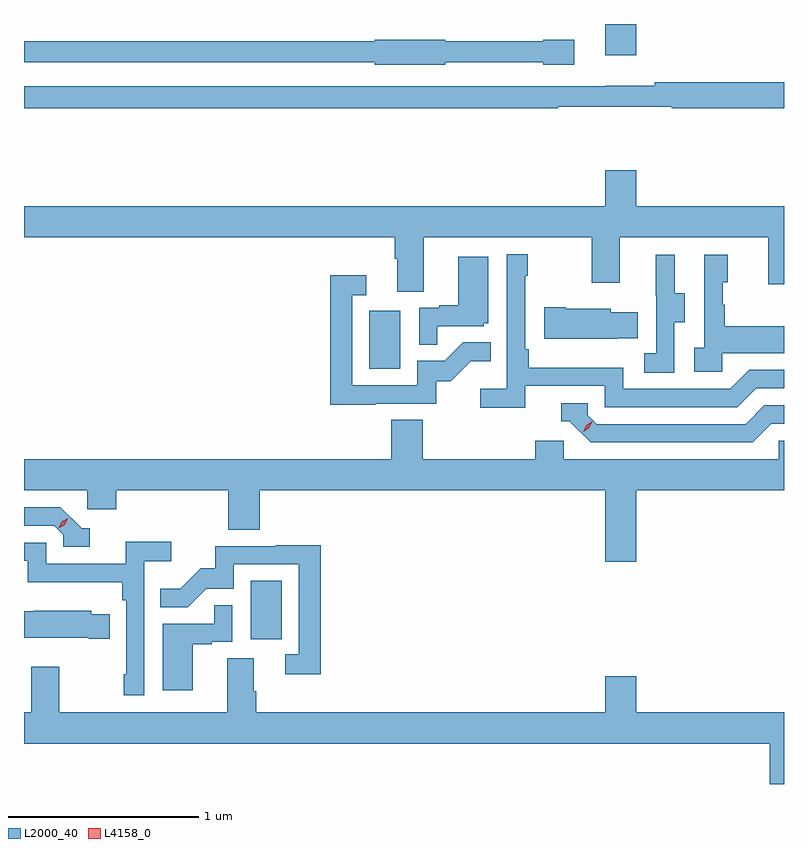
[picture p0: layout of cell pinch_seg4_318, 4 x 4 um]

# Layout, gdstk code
import gdstk
lib = gdstk.Library(unit=1e-6, precision=1e-09)
def R(c, l, rs):  # rectangles x0, y0, x1, y1
    for r in rs: c.add(gdstk.rectangle(r[:2], r[2:], *l))
def P(c, l, *ps):  # polygons
    for p in ps: c.add(gdstk.Polygon(p, *l))
L2000_40 = (2000, 40)
L4158_0 = (4158, 0)

pinch_seg4_318 = lib.new_cell('pinch_seg4_318')
R(pinch_seg4_318, L2000_40, [(918.386,793.374,918.55,793.681), (919.01,794.796,919.174,795.103), (920.252,796.446,920.416,796.611)])
P(pinch_seg4_318, L2000_40, [(919.41,796.41),(919.926,796.41),(919.926,796.397),(920.089,796.397),(920.089,796.527),(919.926,796.527),(919.926,796.519),(919.41,796.519),(919.41,796.527),(919.038,796.527),(919.038,796.519),(917.193,796.519),(917.193,796.41),(919.038,796.41),(919.038,796.397),(919.41,796.397)],
  [(920.002,796.176),(920.602,796.176),(920.602,796.168),(921.193,796.168),(921.193,796.304),(920.512,796.304),(920.512,796.285),(920.256,796.285),(920.256,796.284),(917.193,796.284),(917.193,796.168),(920.002,796.168)],
  [(919.297,795.488),(920.182,795.488),(920.182,795.249),(920.329,795.249),(920.329,795.488),(921.11,795.488),(921.11,795.24),(921.193,795.24),(921.193,795.652),(920.416,795.652),(920.416,795.841),(920.252,795.841),(920.252,795.652),(917.193,795.652),(917.193,795.488),(919.145,795.488),(919.145,795.376),(919.157,795.376),(919.157,795.202),(919.297,795.202)],
  [(919.832,794.706),(920.25,794.706),(920.25,794.595),(920.947,794.595),(921.046,794.694),(921.193,794.694),(921.193,794.79),(921.009,794.79),(920.91,794.691),(920.346,794.691),(920.346,794.803),(919.85,794.803),(919.85,794.899),(919.83,794.899),(919.83,795.287),(919.843,795.287),(919.843,795.4),(919.734,795.4),(919.734,794.692),(919.593,794.692),(919.593,794.59),(919.832,794.59)],
  [(920.868,794.879),(921.193,794.879),(921.193,795.019),(920.881,795.019),(920.881,795.134),(920.871,795.134),(920.871,795.252),(920.896,795.252),(920.896,795.397),(920.772,795.397),(920.772,794.906),(920.721,794.906),(920.721,794.781),(920.868,794.781)],
  [(920.616,795.04),(920.671,795.04),(920.671,795.195),(920.617,795.195),(920.617,795.397),(920.519,795.397),(920.519,795.183),(920.52,795.183),(920.52,794.879),(920.457,794.879),(920.457,794.776),(920.616,794.776)],
  [(919.367,795.021),(919.614,795.021),(919.614,795.036),(919.636,795.036),(919.636,795.385),(919.478,795.385),(919.478,795.13),(919.379,795.13),(919.379,795.117),(919.272,795.117),(919.272,794.923),(919.367,794.923)],
  [(919.043,794.613),(919.362,794.613),(919.362,794.73),(919.438,794.73),(919.545,794.837),(919.649,794.837),(919.649,794.936),(919.505,794.936),(919.407,794.838),(919.263,794.838),(919.263,794.709),(918.921,794.709),(918.921,795.183),(918.994,795.183),(918.994,795.289),(918.805,795.289),(918.805,794.608),(919.043,794.608)],
  [(920.315,794.957),(920.423,794.957),(920.423,795.094),(920.28,795.094),(920.28,795.112),(920.044,795.112),(920.044,795.12),(919.932,795.12),(919.932,794.954),(920.315,794.954)],
  [(921.127,794.508),(921.193,794.508),(921.193,794.604),(921.09,794.604),(920.991,794.505),(920.208,794.505),(920.16,794.553),(920.16,794.616),(920.021,794.616),(920.021,794.52),(920.064,794.52),(920.175,794.409),(921.028,794.409)],
  [(920.416,794.156),(921.193,794.156),(921.193,794.418),(921.165,794.418),(921.165,794.32),(920.034,794.32),(920.034,794.418),(919.883,794.418),(919.883,794.32),(919.292,794.32),(919.292,794.528),(919.127,794.528),(919.127,794.32),(917.193,794.32),(917.193,794.156),(917.526,794.156),(917.526,794.058),(917.678,794.058),(917.678,794.156),(918.269,794.156),(918.269,793.948),(918.434,793.948),(918.434,794.156),(920.252,794.156),(920.252,793.782),(920.416,793.782)],
  [(917.539,793.956),(917.496,793.956),(917.385,794.067),(917.193,794.067),(917.193,793.971),(917.352,793.971),(917.4,793.923),(917.4,793.86),(917.539,793.86)],
  [(917.826,793.784),(917.968,793.784),(917.968,793.886),(917.729,793.886),(917.729,793.77),(917.31,793.77),(917.31,793.881),(917.193,793.881),(917.193,793.785),(917.214,793.785),(917.214,793.673),(917.71,793.673),(917.71,793.577),(917.73,793.577),(917.73,793.189),(917.718,793.189),(917.718,793.077),(917.826,793.077)],
  [(918.755,793.868),(918.517,793.868),(918.517,793.863),(918.199,793.863),(918.199,793.746),(918.122,793.746),(918.015,793.639),(917.911,793.639),(917.911,793.54),(918.055,793.54),(918.153,793.638),(918.297,793.638),(918.297,793.767),(918.639,793.767),(918.639,793.293),(918.567,793.293),(918.567,793.188),(918.755,793.188)],
  [(918.082,793.347),(918.182,793.347),(918.182,793.359),(918.288,793.359),(918.288,793.553),(918.193,793.553),(918.193,793.455),(917.924,793.455),(917.924,793.104),(918.082,793.104)],
  [(917.645,793.504),(917.547,793.504),(917.547,793.522),(917.245,793.522),(917.245,793.519),(917.193,793.519),(917.193,793.382),(917.534,793.382),(917.534,793.375),(917.645,793.375)],
  [(921.193,792.988),(920.416,792.988),(920.416,793.177),(920.252,793.177),(920.252,792.988),(918.416,792.988),(918.416,793.1),(918.403,793.1),(918.403,793.274),(918.263,793.274),(918.263,792.988),(917.379,792.988),(917.379,793.228),(917.231,793.228),(917.231,792.988),(917.193,792.988),(917.193,792.824),(921.119,792.824),(921.119,792.611),(921.193,792.611)])
P(pinch_seg4_318, L4158_0, [(920.138,794.466),(920.138,794.467),(920.153,794.499),(920.184,794.519),(920.184,794.519),(920.184,794.519),(920.168,794.486),(920.138,794.466)],
  [(917.376,793.957),(917.376,793.957),(917.392,793.99),(917.422,794.009),(917.423,794.009),(917.423,794.009),(917.407,793.976),(917.377,793.957)])

lib.write_gds('pinch_seg4_318.gds')
